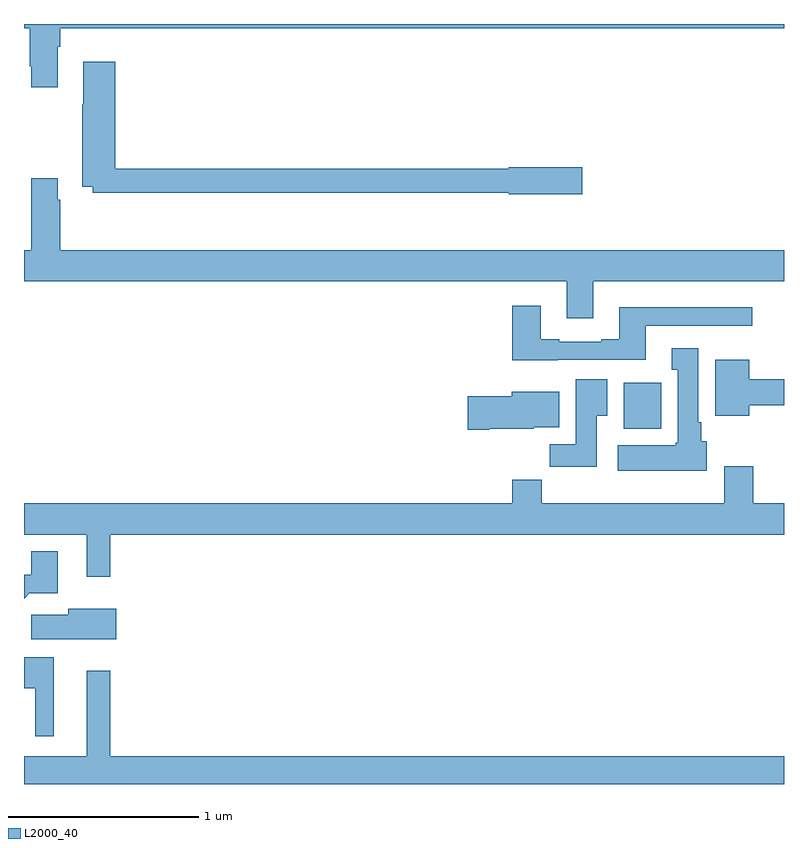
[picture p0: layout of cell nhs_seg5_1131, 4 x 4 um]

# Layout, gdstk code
import gdstk
lib = gdstk.Library(unit=1e-6, precision=1e-09)
def R(c, l, rs):  # rectangles x0, y0, x1, y1
    for r in rs: c.add(gdstk.rectangle(r[:2], r[2:], *l))
def P(c, l, *ps):  # polygons
    for p in ps: c.add(gdstk.Polygon(p, *l))
L2000_40 = (2000, 40)

nhs_seg5_1131 = lib.new_cell('nhs_seg5_1131')
R(nhs_seg5_1131, L2000_40, [(184.157,838.67,184.354,838.912)])
P(nhs_seg5_1131, L2000_40, [(181.177,840.68),(181.19,840.68),(181.19,840.776),(185,840.776),(185,840.799),(181,840.799),(181,840.776),(181.03,840.776),(181.03,840.577),(181.037,840.577),(181.037,840.465),(181.177,840.465)],
  [(183.937,840.044),(183.552,840.044),(183.552,840.038),(181.481,840.038),(181.481,840.601),(181.313,840.601),(181.313,840.377),(181.306,840.377),(181.306,839.942),(181.362,839.942),(181.362,839.91),(183.552,839.91),(183.552,839.902),(183.937,839.902)],
  [(183.997,839.444),(185,839.444),(185,839.608),(181.19,839.608),(181.19,839.873),(181.177,839.873),(181.177,839.986),(181.037,839.986),(181.037,839.608),(181,839.608),(181,839.444),(183.857,839.444),(183.857,839.25),(183.997,839.25)],
  [(183.809,839.031),(184.273,839.031),(184.273,839.211),(184.834,839.211),(184.834,839.308),(184.133,839.308),(184.133,839.14),(184.037,839.14),(184.037,839.127),(183.817,839.127),(183.817,839.14),(183.721,839.14),(183.721,839.317),(183.569,839.317),(183.569,839.03),(183.809,839.03)],
  [(184.594,838.602),(184.564,838.602),(184.564,838.702),(184.549,838.702),(184.549,839.092),(184.409,839.092),(184.409,838.979),(184.442,838.979),(184.442,838.596),(184.429,838.596),(184.429,838.582),(184.125,838.582),(184.125,838.448),(184.594,838.448)],
  [(184.816,838.792),(185,838.792),(185,838.928),(184.816,838.928),(184.816,839.032),(184.637,839.032),(184.637,838.736),(184.816,838.736)],
  [(184.015,838.736),(184.069,838.736),(184.069,838.93),(183.905,838.93),(183.905,838.588),(183.766,838.588),(183.766,838.47),(184.015,838.47)],
  [(183.448,838.67),(183.684,838.67),(183.684,838.676),(183.817,838.676),(183.817,838.864),(183.566,838.864),(183.566,838.841),(183.336,838.841),(183.336,838.663),(183.448,838.663)],
  [(181.453,838.112),(185,838.112),(185,838.276),(184.838,838.276),(184.838,838.471),(184.685,838.471),(184.685,838.276),(183.725,838.276),(183.725,838.4),(183.569,838.4),(183.569,838.276),(181,838.276),(181,838.112),(181.331,838.112),(181.331,837.891),(181.453,837.891)],
  [(181.028,837.803),(181.177,837.803),(181.177,838.024),(181.037,838.024),(181.037,837.901),(181,837.901),(181,837.775)],
  [(181.486,837.721),(181.232,837.721),(181.232,837.689),(181.038,837.689),(181.038,837.56),(181.486,837.56)],
  [(181.156,837.466),(181,837.466),(181,837.302),(181.058,837.302),(181.058,837.051),(181.156,837.051)],
  [(185,836.944),(181.453,836.944),(181.453,837.394),(181.331,837.394),(181.331,836.944),(181,836.944),(181,836.799),(185,836.799)])

lib.write_gds('nhs_seg5_1131.gds')
